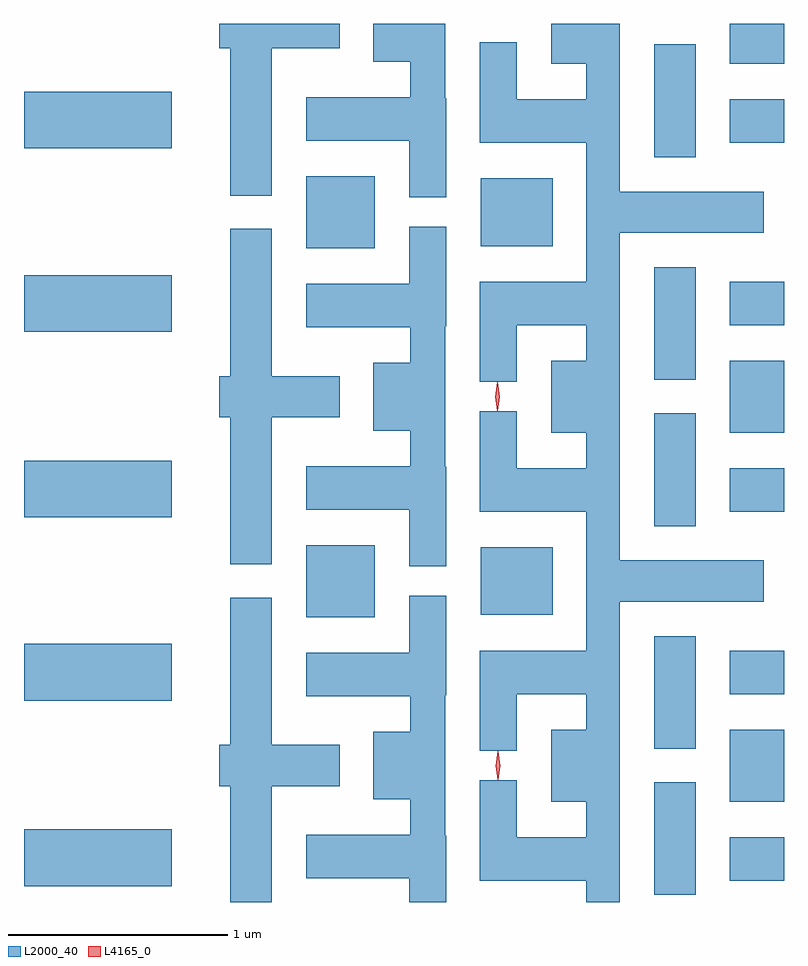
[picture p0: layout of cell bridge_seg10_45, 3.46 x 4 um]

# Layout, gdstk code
import gdstk
lib = gdstk.Library(unit=1e-6, precision=1e-09)
def R(c, l, rs):  # rectangles x0, y0, x1, y1
    for r in rs: c.add(gdstk.rectangle(r[:2], r[2:], *l))
def P(c, l, *ps):  # polygons
    for p in ps: c.add(gdstk.Polygon(p, *l))
L2000_40 = (2000, 40)
L4165_0 = (4165, 0)

bridge_seg10_45 = lib.new_cell('bridge_seg10_45')
R(bridge_seg10_45, L2000_40, [(1625.716,2170.261,1625.904,2170.774), (1622.846,2170.301,1623.519,2170.559), (1626.061,2170.326,1626.307,2170.524), (1626.061,2170.686,1626.307,2171.014), (1625.716,2170.926,1625.904,2171.439), (1622.846,2171.146,1623.519,2171.404), (1626.061,2171.176,1626.307,2171.374), (1624.131,2171.526,1624.444,2171.854), (1624.926,2171.536,1625.254,2171.844), (1625.716,2171.941,1625.904,2172.454), (1622.846,2171.981,1623.519,2172.239), (1626.061,2172.006,1626.307,2172.204), (1626.061,2172.366,1626.307,2172.694), (1625.716,2172.606,1625.904,2173.119), (1622.846,2172.826,1623.519,2173.084), (1626.061,2172.856,1626.307,2173.054), (1624.131,2173.206,1624.444,2173.534), (1624.926,2173.216,1625.254,2173.524), (1625.716,2173.621,1625.904,2174.134), (1622.846,2173.661,1623.519,2173.919), (1626.061,2173.686,1626.307,2173.884), (1626.061,2174.046,1626.307,2174.228)])
P(bridge_seg10_45, L2000_40, [(1625.559,2171.596),(1626.214,2171.596),(1626.214,2171.784),(1625.559,2171.784),(1625.559,2173.276),(1626.214,2173.276),(1626.214,2173.464),(1625.559,2173.464),(1625.559,2174.228),(1625.246,2174.228),(1625.246,2174.046),(1625.406,2174.046),(1625.406,2173.884),(1625.089,2173.884),(1625.089,2174.143),(1624.921,2174.143),(1624.921,2173.686),(1625.406,2173.686),(1625.406,2173.054),(1624.921,2173.054),(1624.921,2172.598),(1625.089,2172.598),(1625.089,2172.856),(1625.406,2172.856),(1625.406,2172.694),(1625.246,2172.694),(1625.246,2172.366),(1625.406,2172.366),(1625.406,2172.204),(1625.089,2172.204),(1625.089,2172.463),(1624.921,2172.463),(1624.921,2172.006),(1625.406,2172.006),(1625.406,2171.374),(1624.921,2171.374),(1624.921,2170.918),(1625.089,2170.918),(1625.089,2171.176),(1625.406,2171.176),(1625.406,2171.014),(1625.246,2171.014),(1625.246,2170.686),(1625.406,2170.686),(1625.406,2170.524),(1625.089,2170.524),(1625.089,2170.783),(1624.921,2170.783),(1624.921,2170.326),(1625.406,2170.326),(1625.406,2170.228),(1625.559,2170.228)],
  [(1624.769,2173.89),(1624.764,2173.89),(1624.764,2174.228),(1624.436,2174.228),(1624.436,2174.056),(1624.606,2174.056),(1624.606,2173.894),(1624.131,2173.894),(1624.131,2173.696),(1624.601,2173.696),(1624.601,2173.438),(1624.769,2173.438)],
  [(1623.974,2174.116),(1624.284,2174.116),(1624.284,2174.228),(1623.736,2174.228),(1623.736,2174.116),(1623.786,2174.116),(1623.786,2173.446),(1623.974,2173.446)],
  [(1624.769,2172.21),(1624.764,2172.21),(1624.764,2172.85),(1624.769,2172.85),(1624.769,2173.303),(1624.601,2173.303),(1624.601,2173.044),(1624.131,2173.044),(1624.131,2172.846),(1624.606,2172.846),(1624.606,2172.684),(1624.436,2172.684),(1624.436,2172.376),(1624.606,2172.376),(1624.606,2172.214),(1624.131,2172.214),(1624.131,2172.016),(1624.601,2172.016),(1624.601,2171.758),(1624.769,2171.758)],
  [(1623.974,2172.436),(1624.284,2172.436),(1624.284,2172.624),(1623.974,2172.624),(1623.974,2173.294),(1623.786,2173.294),(1623.786,2172.624),(1623.736,2172.624),(1623.736,2172.436),(1623.786,2172.436),(1623.786,2171.766),(1623.974,2171.766)],
  [(1624.769,2170.53),(1624.764,2170.53),(1624.764,2171.17),(1624.769,2171.17),(1624.769,2171.623),(1624.601,2171.623),(1624.601,2171.364),(1624.131,2171.364),(1624.131,2171.166),(1624.606,2171.166),(1624.606,2171.004),(1624.436,2171.004),(1624.436,2170.696),(1624.606,2170.696),(1624.606,2170.534),(1624.131,2170.534),(1624.131,2170.336),(1624.601,2170.336),(1624.601,2170.228),(1624.769,2170.228)],
  [(1623.974,2170.756),(1624.284,2170.756),(1624.284,2170.944),(1623.974,2170.944),(1623.974,2171.614),(1623.786,2171.614),(1623.786,2170.944),(1623.736,2170.944),(1623.736,2170.756),(1623.786,2170.756),(1623.786,2170.228),(1623.974,2170.228)])
P(bridge_seg10_45, L4165_0, [(1625.003,2172.464),(1625.002,2172.465),(1624.993,2172.53),(1625.002,2172.595),(1625.003,2172.596),(1625.003,2172.595),(1625.013,2172.53),(1625.003,2172.465)],
  [(1625.005,2170.784),(1625.004,2170.785),(1624.995,2170.85),(1625.004,2170.915),(1625.005,2170.916),(1625.005,2170.915),(1625.015,2170.85),(1625.005,2170.785)])

lib.write_gds('bridge_seg10_45.gds')
